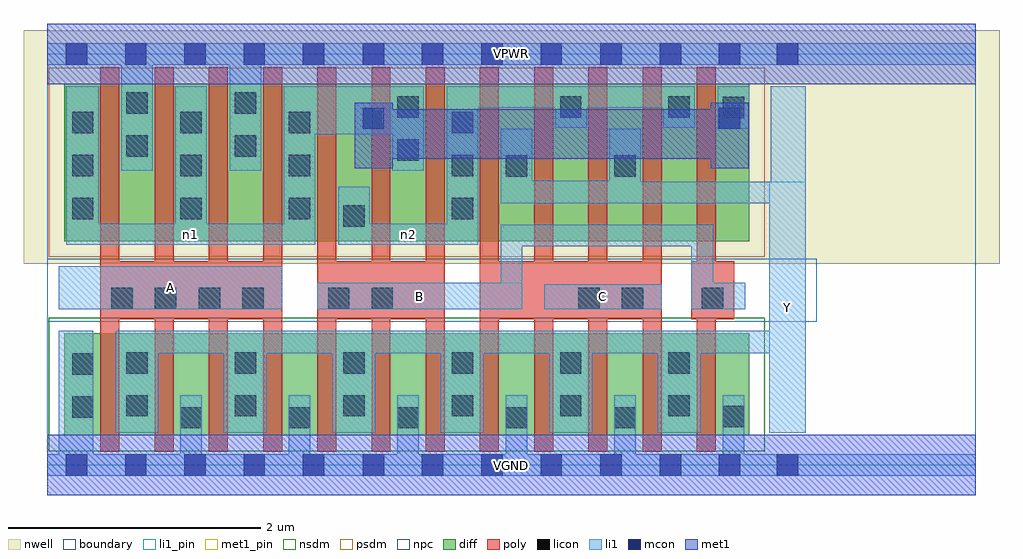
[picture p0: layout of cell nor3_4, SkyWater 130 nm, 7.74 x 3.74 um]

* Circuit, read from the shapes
.subckt nor3_4 A B C VGND VPWR Y n1 n2
XM1 Y A VGND VSUBS sky130_fd_pr__nfet_01v8 w=0.81 l=0.15 m=4
XM2 Y B VGND VSUBS sky130_fd_pr__nfet_01v8 w=0.81 l=0.15 m=4
XM3 VGND C Y VSUBS sky130_fd_pr__nfet_01v8 w=0.81 l=0.15 m=4
XM4 VPWR A n1 n3 sky130_fd_pr__pfet_01v8 w=1.25 l=0.15 m=4
XM5 n2 B n1 n3 sky130_fd_pr__pfet_01v8 w=1.25 l=0.15 m=4
XM6 Y C n2 n3 sky130_fd_pr__pfet_01v8 w=1.25 l=0.15 m=4
.ends

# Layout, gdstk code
import gdstk
lib = gdstk.Library(unit=1e-6, precision=1e-09)
def R(c, l, rs):  # rectangles x0, y0, x1, y1
    for r in rs: c.add(gdstk.rectangle(r[:2], r[2:], *l))
def A(c, l, x, y, w, h, nx, ny, dx, dy):  # array of equal rectangles
    R(c, l, [(x+i*dx, y+j*dy, x+i*dx+w, y+j*dy+h) for i in range(nx) for j in range(ny)])
nwell = (64, 20)
diff = (65, 20)
poly = (66, 20)
licon = (66, 44)
li1_pin = (67, 16)
li1 = (67, 20)
mcon = (67, 44)
met1_pin = (68, 16)
met1 = (68, 20)
nsdm = (93, 44)
psdm = (94, 20)
npc = (95, 20)
boundary = (235, 4)

nor3_4 = lib.new_cell('nor3_4')
R(nor3_4, nwell, [(-0.19,1.595,7.55,3.45), (0,1.595,7.36,3.45)])
R(nor3_4, diff, [(0.135,0.235,5.565,1.045), (0.135,1.775,5.565,3.025)])
A(nor3_4, poly, 0.42, 0.105, 0.15, 3.05, 12, 1, 0.43, 0)
R(nor3_4, poly, [(0.42,1.155,1.86,1.615), (2.14,1.155,3.15,1.615), (3.43,1.155,4.87,1.615), (5.105,1.155,5.445,1.615)])
A(nor3_4, licon, 1.055, 0.29, 0.17, 0.17, 5, 1, 0.86, 0)
A(nor3_4, licon, 0.625, 0.385, 0.17, 0.17, 6, 2, 0.86, 0.34)
A(nor3_4, licon, 0.195, 1.95, 0.17, 0.17, 3, 3, 0.86, 0.34)
A(nor3_4, licon, 3.205, 1.95, 0.17, 0.17, 1, 3, 0, 0.34)
R(nor3_4, licon, [(5.355,0.3,5.525,0.47), (0.195,0.375,0.365,0.545), (0.195,0.715,0.365,0.885), (0.505,1.235,0.675,1.405), (0.85,1.235,1.02,1.405), (1.2,1.235,1.37,1.405), (1.545,1.235,1.715,1.405), (2.225,1.235,2.395,1.405), (2.57,1.235,2.74,1.405), (4.21,1.235,4.38,1.405), (4.555,1.235,4.725,1.405), (5.19,1.235,5.36,1.405), (2.345,1.89,2.515,2.06), (3.635,2.285,3.805,2.455), (4.495,2.285,4.665,2.455), (2.775,2.415,2.945,2.585), (0.625,2.445,0.795,2.615), (1.485,2.445,1.655,2.615), (5.355,2.75,5.525,2.92), (2.775,2.755,2.945,2.925), (4.065,2.755,4.235,2.925), (4.925,2.755,5.095,2.925), (0.625,2.785,0.795,2.955), (1.485,2.785,1.655,2.955)])
R(nor3_4, li1_pin, [(5.725,0.255,6.015,2.245), (0.09,1.235,1.86,1.575), (2.14,1.235,3.765,1.445), (3.94,1.235,4.87,1.435)])
A(nor3_4, li1, 1.055, -0.085, 0.17, 0.64, 6, 1, 0.86, 0)
A(nor3_4, li1, 0.54, 0.255, 0.34, 0.81, 6, 1, 0.86, 0)
R(nor3_4, li1, [(0,-0.085,7.36,0.085), (0.09,-0.085,0.365,1.065), (5.725,0.255,6.015,2.245), (5.735,0.255,6.015,3.005), (0.54,0.885,6.015,1.065), (0.09,1.235,1.86,1.575), (2.14,1.235,3.765,1.445), (3.595,1.235,3.765,1.905), (3.94,1.235,4.87,1.435), (5.105,1.235,5.535,1.445), (5.105,1.235,5.28,1.905), (3.595,1.735,5.28,1.905), (0.15,1.745,2.125,1.915), (0.15,1.745,0.405,3.005), (1.015,1.745,1.265,3.005), (1.875,1.745,2.125,3.005), (2.305,1.745,3.415,1.915), (2.305,1.745,2.555,2.205), (3.165,1.745,3.415,3.005), (3.595,2.075,6.015,2.245), (3.595,2.075,3.845,2.665), (3.595,2.075,4.705,2.255), (4.455,2.075,4.705,2.665), (0.585,2.335,0.835,3.345), (1.445,2.335,1.695,3.345), (2.735,2.335,2.985,3.005), (1.875,2.625,2.985,3.005), (5.315,2.665,5.565,3.005), (4.025,2.675,4.275,3.005), (4.885,2.675,5.135,3.005), (3.165,2.835,5.135,3.005), (0,3.175,7.36,3.345)])
A(nor3_4, mcon, 0.145, -0.085, 0.17, 0.17, 5, 2, 0.47, 3.26)
A(nor3_4, mcon, 2.5, -0.085, 0.17, 0.17, 4, 2, 0.47, 3.26)
A(nor3_4, mcon, 4.385, -0.085, 0.17, 0.17, 3, 2, 0.47, 3.26)
R(nor3_4, mcon, [(5.785,-0.085,5.955,0.085), (2.5,2.665,2.67,2.835), (5.325,2.665,5.495,2.835), (5.785,3.175,5.955,3.345)])
R(nor3_4, met1_pin, [(0,-0.24,7.36,0.24), (0,3.02,7.36,3.5)])
R(nor3_4, met1, [(0,-0.24,7.36,0.24), (2.435,2.355,2.74,2.875), (5.26,2.355,5.56,2.875), (2.435,2.43,5.56,2.82), (0,3.02,7.36,3.5)])
R(nor3_4, nsdm, [(0.01,0.11,5.69,1.17)])
R(nor3_4, psdm, [(0.01,1.65,5.69,3.15)])
R(nor3_4, npc, [(0,1.135,6.1,1.635)])
R(nor3_4, boundary, [(0,0,7.36,3.26)])
nor3_4.add(gdstk.Label('A', (0.975,1.405), layer=67, texttype=5))
nor3_4.add(gdstk.Label('B', (2.952,1.34), layer=67, texttype=5))
nor3_4.add(gdstk.Label('C', (4.405,1.335), layer=67, texttype=5))
nor3_4.add(gdstk.Label('Y', (5.87,1.25), layer=67, texttype=5))
nor3_4.add(gdstk.Label('n1', (1.137,1.83), layer=67, texttype=5))
nor3_4.add(gdstk.Label('n2', (2.86,1.83), layer=67, texttype=5))
nor3_4.add(gdstk.Label('VPWR', (3.68,3.26), layer=68, texttype=5))
nor3_4.add(gdstk.Label('VGND', (3.68,0), layer=68, texttype=5))
nor3_4.add(gdstk.Label('A', (0.975,1.405), layer=67, texttype=16))
nor3_4.add(gdstk.Label('B', (2.952,1.34), layer=67, texttype=16))
nor3_4.add(gdstk.Label('C', (4.405,1.335), layer=67, texttype=16))
nor3_4.add(gdstk.Label('Y', (5.87,1.25), layer=67, texttype=16))
nor3_4.add(gdstk.Label('VPWR', (3.68,3.26), layer=68, texttype=16))
nor3_4.add(gdstk.Label('VGND', (3.68,0), layer=68, texttype=16))

lib.write_gds('nor3_4.gds')
